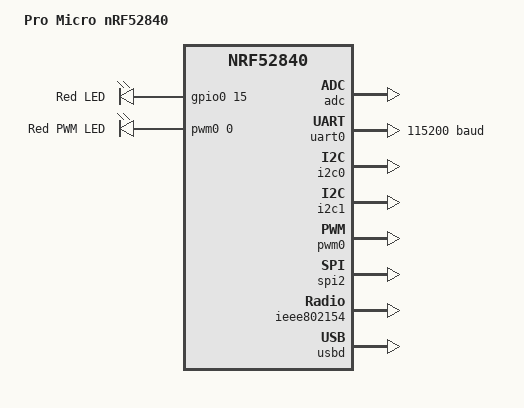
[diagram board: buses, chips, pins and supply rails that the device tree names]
/*
 * Copyright (c) 2024 MASSDRIVER EI (massdriver.space)
 * Copyright (c) 2018-2023 Nordic Semiconductor ASA
 * Copyright (c) 2017 Linaro Limited
 *
 * SPDX-License-Identifier: Apache-2.0
 */

/dts-v1/;
#include <nordic/nrf52840_qiaa.dtsi>
#include "promicro_nrf52840-pinctrl.dtsi"
#include <zephyr/dt-bindings/input/input-event-codes.h>

/ {
	model = "Pro Micro nRF52840";
	compatible = "others,promicro-nrf52840";

	chosen {
		zephyr,sram = &sram0;
		zephyr,flash = &flash0;
		zephyr,ieee802154 = &ieee802154;
	};

	leds {
		compatible = "gpio-leds";
		led0: led_0 {
			gpios = <&gpio0 15 GPIO_ACTIVE_HIGH>;
			label = "Red LED";
		};
	};

	pwmleds {
		compatible = "pwm-leds";
		red_pwm_led: led_pwm_0 {
			pwms = <&pwm0 0 PWM_MSEC(20) PWM_POLARITY_INVERTED>;
			label = "Red PWM LED";
		};
	};

	aliases {
		led0 = &led0;
		pwm-led0 = &red_pwm_led;
		red-pwm-led = &red_pwm_led;
		bootloader-led0 = &led0;
		mcuboot-led0 = &led0;
		spi = &spi2;
		watchdog0 = &wdt0;
	};
};

&adc {
	status = "okay";
};

&gpiote {
	status = "okay";
};

&uicr {
	nfct-pins-as-gpios;
	gpio-as-nreset;
};

&gpio0 {
	status = "okay";
};

&gpio1 {
	status = "okay";
};

&uart0 {
	compatible = "nordic,nrf-uarte";
	status = "okay";
	current-speed = <115200>;
	pinctrl-0 = <&uart0_default>;
	pinctrl-1 = <&uart0_sleep>;
	pinctrl-names = "default", "sleep";
};

&i2c0 {
	compatible = "nordic,nrf-twi";
	status = "okay";
	pinctrl-0 = <&i2c0_default>;
	pinctrl-1 = <&i2c0_sleep>;
	pinctrl-names = "default", "sleep";
};

&i2c1 {
	compatible = "nordic,nrf-twi";
	status = "okay";
	pinctrl-0 = <&i2c1_default>;
	pinctrl-1 = <&i2c1_sleep>;
	pinctrl-names = "default", "sleep";
};

&pwm0 {
	status = "okay";
	pinctrl-0 = <&pwm0_default>;
	pinctrl-1 = <&pwm0_sleep>;
	pinctrl-names = "default", "sleep";
};


&spi2 {
	compatible = "nordic,nrf-spi";
	status = "okay";
	pinctrl-0 = <&spi2_default>;
	pinctrl-1 = <&spi2_sleep>;
	pinctrl-names = "default", "sleep";
};

&ieee802154 {
	status = "okay";
};

zephyr_udc0: &usbd {
	status = "okay";
};
#include <../boards/common/usb/cdc_acm_serial.dtsi>
